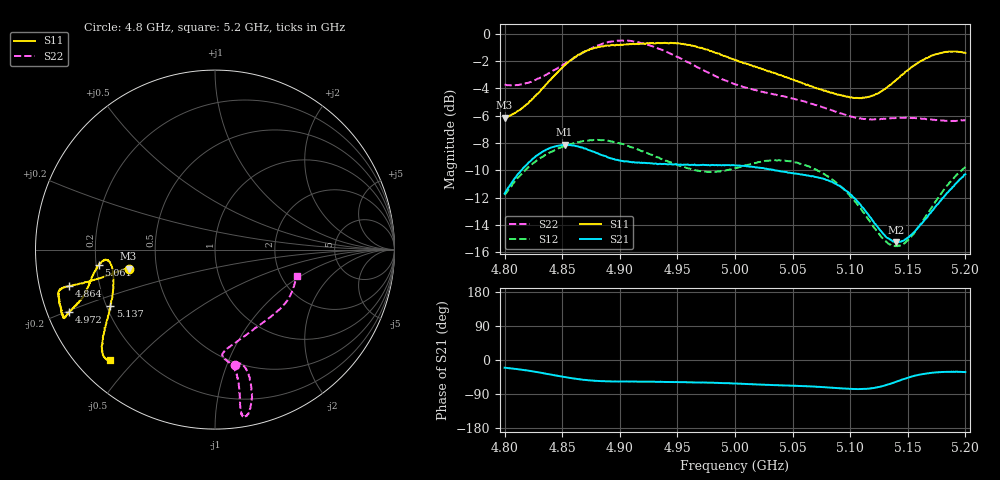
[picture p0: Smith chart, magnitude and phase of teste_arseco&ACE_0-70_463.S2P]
! Network Analyzer HP8722D
! Hewlett-Packard
! Data name: Linha & Wilkinson
! Saver's name: Rodrigo Anjos
! Comments: Teste da utilização de aquisição
! continua pelo VNA HP8722D
! Time and date: 8/5/2025 16:37
!  Frequency  S11  S21  S12  S22
# HZ  S  MA R 50
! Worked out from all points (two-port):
!   401 points, 4.8 GHz to 5.2 GHz, reference 50 ohm
!   highest |S21| = -8.13 dB at 4.852 GHz (marker M1); lowest = -15.3 dB at 5.14 GHz (marker M2)
!   |S21| within 3 dB of the highest: 4.804 GHz to 5.09 GHz (286 MHz wide, 5.78 % of centre); 5.19021 GHz to end of sweep
!   lowest |S11| = -6.1 dB at 4.8 GHz (marker M3), VSWR 2.95, Z = 17.1 - j4.84 ohm
!   |S11| at or under -10 dB: nowhere
!   |S22| runs from -6.4 to -0.5 dB; largest |S21 - S12| = 0.62
!   S11 on the Smith chart (normalised r, x): 4.8 GHz: 0.34, -0.10; 4.864 GHz: 0.09, -0.12; 4.972 GHz: 0.06, -0.20; 5.061 GHz: 0.21, -0.06; 5.137 GHz: 0.22, -0.24; 5.2 GHz: 0.10, -0.42
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4.8e9  0.4932 -167.5  0.2597 -20.4  0.2565 -141.6  0.6522 -80.3
4.826e9  0.5885 -166.9  0.3529 -30.9  0.3381 -145.6  0.6755 -75.8
4.852e9  0.7662 -165.8  0.3922 -44.9  0.3883 -150.3  0.7755 -75.0
4.864e9  0.8392 -166.0  0.3864 -50.4  0.4003 -152.2  0.835 -75.8
4.867e9  0.8513 -166.0  0.3837 -51.7  0.4032 -152.7  0.8476 -76.0
4.881e9  0.8948 -165.4  0.3651 -55.3  0.4087 -155.0  0.9066 -77.5
4.9e9  0.9108 -162.8  0.3435 -56.7  0.3964 -156.9  0.9425 -79.7
4.934e9  0.9254 -156.5  0.3338 -57.8  0.3522 -155.8  0.8804 -80.8
4.972e9  0.8846 -156.8  0.3312 -59.1  0.3132 -146.4  0.7378 -80.2
5e9  0.803 -159.3  0.3297 -62.1  0.3221 -137.6  0.6535 -81.6
5.036e9  0.7139 -166.1  0.3155 -66.5  0.3438 -135.0  0.5974 -85.8
5.061e9  0.6526 -172.4  0.3042 -69.1  0.3301 -137.1  0.5647 -84.0
5.067e9  0.6406 -173.4  0.3011 -69.8  0.3233 -137.5  0.5538 -82.6
5.087e9  0.603 -174.5  0.2824 -73.8  0.287 -139.3  0.5186 -74.4
5.101e9  0.5856 -171.6  0.2569 -76.2  0.2518 -139.2  0.4972 -66.0
5.116e9  0.5881 -164.7  0.217 -75.7  0.2082 -135.3  0.4862 -55.1
5.134e9  0.6471 -153.6  0.1773 -63.7  0.1695 -119.1  0.4902 -42.8
5.137e9  0.6623 -151.7  0.1737 -60.6  0.1674 -115.2  0.4913 -41.2
5.14e9  0.6781 -150.2  0.1723 -57.2  0.167 -111.3  0.4912 -39.4
5.152e9  0.7471 -144.7  0.1823 -45.0  0.1786 -96.1  0.492 -33.1
5.172e9  0.8351 -138.9  0.2266 -33.5  0.2358 -81.1  0.4842 -24.5
5.2e9  0.8506 -133.7  0.3058 -31.9  0.3252 -77.5  0.4815 -17.7
